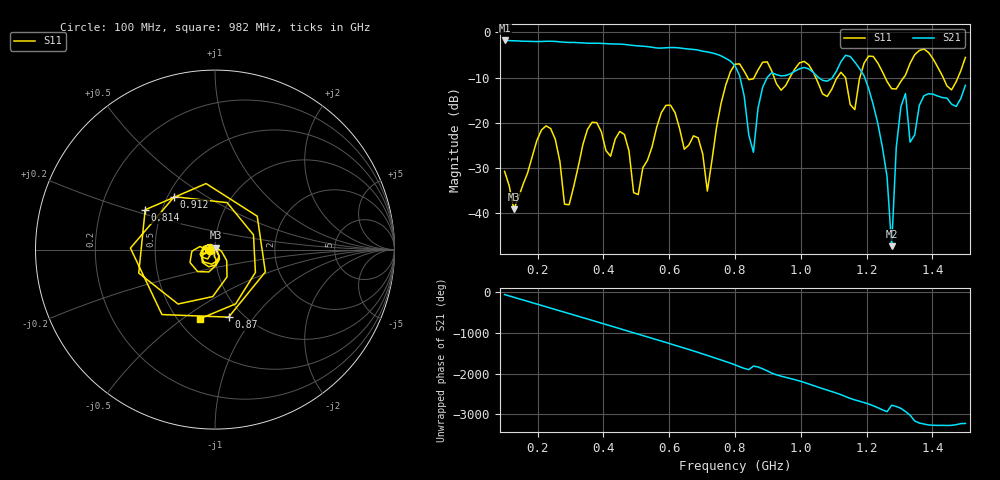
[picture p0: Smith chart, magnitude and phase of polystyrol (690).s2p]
! NanoVNA-App
! Date: 2025-09-25 15:35:15
! Start: 100MHz Stop: 1,5GHz Points: 101
! S-Parameter data: F S11 S21 S12 S22
# Hz S RI R 50
!  Frequency  S11_Real  S11_Imag  S21_Real  S21_Imag  S12_Real  S12_Imag  S22_Real  S22_Imag
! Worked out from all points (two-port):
!   101 points, 100 MHz to 1.5 GHz, reference 50 ohm
!   highest |S21| = -1.80 dB at 100 MHz (marker M1); lowest = -47.2 dB at 1.276 GHz (marker M2)
!   |S21| within 3 dB of the highest: start of sweep to 742.8 MHz
!   lowest |S11| = -39.1 dB at 128 MHz (marker M3), VSWR 1.02, Z = 50.3 + j1.07 ohm
!   |S11| at or under -10 dB: start of sweep to 779.9 MHz; 1.045 GHz to 1.111 GHz (65.28 MHz wide, 6.06 % of centre); 1.136 GHz to 1.179 GHz (43.58 MHz wide, 3.77 % of centre) (the widest 3 of 7)
!   S12 and S22 are empty: the file has one direction only
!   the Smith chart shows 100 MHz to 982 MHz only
!   S11 on the Smith chart (normalised r, x): 100 MHz: 0.94, -0.01; 814 MHz: 0.40, +0.22; 870 MHz: 0.86, -0.76; 912 MHz: 0.54, +0.37; 982 MHz: 0.64, -0.58
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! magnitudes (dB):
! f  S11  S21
! 100 MHz  -30.7  -1.8
! 128 MHz  -39.1  -1.9
! 212 MHz  -21.6  -2.0
! 282 MHz  -38.0  -2.2
! 338 MHz  -24.7  -2.3
! 464 MHz  -22.6  -2.7
! 506 MHz  -35.8  -3.0
! 576 MHz  -17.8  -3.5
! 716 MHz  -35.1  -4.3
! 800 MHz  -7.0  -7.4
! 814 MHz  -7.0  -9.6
! 856 MHz  -10.3  -26.5
! 870 MHz  -8.3  -16.7
! 912 MHz  -8.6  -8.9
! 982 MHz  -8.1  -8.6
! 1.038 GHz  -8.8  -8.9
! 1.192 GHz  -6.8  -9.6
! 1.276 GHz  -12.4  -47.2
! 1.29 GHz  -12.5  -25.4
! 1.318 GHz  -9.4  -13.5
! 1.332 GHz  -6.8  -24.3
! 1.5 GHz  -5.6  -11.7
